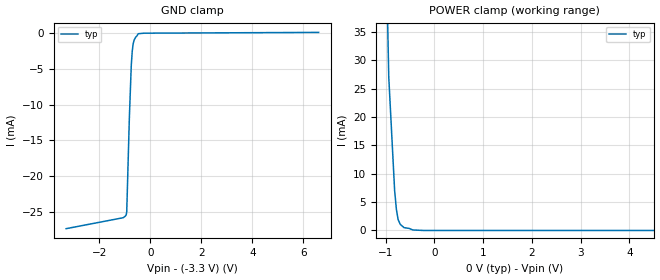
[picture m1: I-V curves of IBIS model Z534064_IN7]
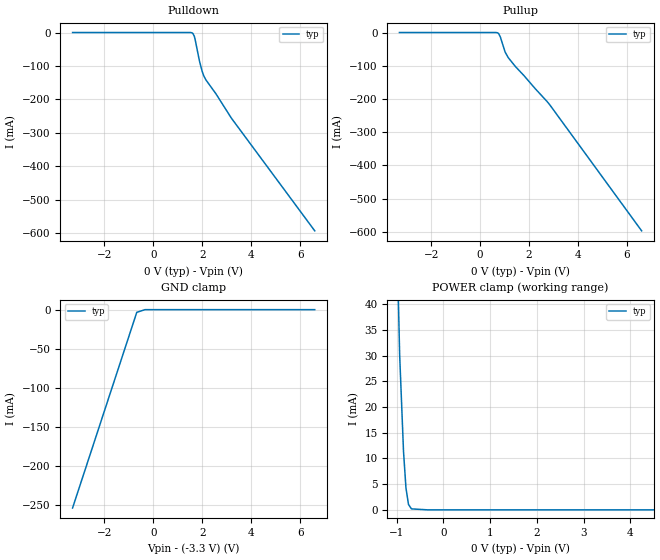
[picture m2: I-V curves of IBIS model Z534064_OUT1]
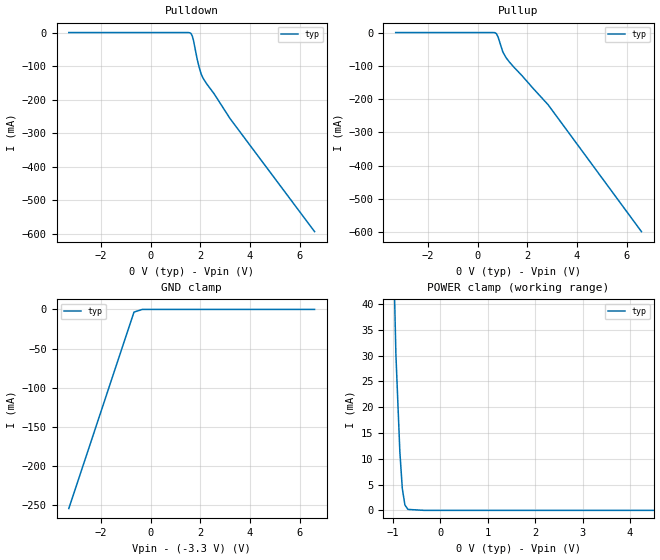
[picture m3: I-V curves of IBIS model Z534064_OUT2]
[IBIS Ver] 3.1
[File Name] mc100lvel11d_-33.ibs
[File Rev] 5
[Source] Measured and created by ICX Technology
[Date] 5/4/2004
[Copyright]
| (C) COPYRIGHT 1993-2000
| MENTOR GRAPHICS CORPORATION
| ICX STANDARD LIBRARY, ICX PROJECT MODELING,
| ICX CUSTOM MODELING, ICX VENDOR MODEL
| ALL RIGHTS RESERVED.
| THE FOLLOWING ARE TRADEMARKS OR SERVICE MARKS OF
| MENTOR GRAPHICS CORPORATION:ICX (R), ICX STANDARD
| LIBRARY(R), ICX PROJECT MODELING(R), ICX CUSTOM
| MODELING(R), qualityIBIS(TM), MODELVIEWER(TM),
| AND MODELEDITOR(TM)
| ALL COPIES OF SOFTWARE, INCLUDING BUT NOT LIMITED TO
| ANY MODIFICATIONS, ENHANCEMENTS OR DERIVATIVE WORKS,
| MUST CONTAIN ALL MENTOR GRAPHICS CORPORATION'S
| NOTICES AND LEGENDS, INCLUDING THOSE EMBEDDED IN
| SOFTWARE AND THOSE AFFIXED TO SOFTWARE MEDIUM
| AND CONTAINER, AS RECEIVED FROM MENTOR GRAPHICS
| CORPORATION.
|  ZAP Model Builder 2.7
[Component] MC100LVEL11D_-33
[Manufacturer] OnSemiconductor
[Package]
| variable   typ   min   max
R_pkg  .152ohms NA NA
L_pkg  2.714nH NA NA
C_pkg  .364pF NA NA
[Pin] signal_name  model_name  R_pin  L_pin C_pin
1 Q0 Z534064_OUT1 .154 2.924n .374p
2 _Q0 Z534064_OUT2 .15 2.504n .354p
3 Q1 Z534064_OUT1 .15 2.504n .354p
4 _Q1 Z534064_OUT2 .154 2.924n .374p
5 VEE POWER .154 2.924n .374p
6 _D Z534064_IN7 .15 2.504n .354p
7 D Z534064_IN7 .15 2.504n .354p
8 VCC POWER .154 2.924n .374p
| Models and submodels in the file (3): Z534064_IN7 (Input_ECL), Z534064_OUT1 (Output_ECL), Z534064_OUT2 (Output_ECL)
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| (C) COPYRIGHT 1993-2000
| MENTOR GRAPHICS CORPORATION
| ICX STANDARD LIBRARY, ICX PROJECT MODELING,
| ICX CUSTOM MODELING, ICX VENDOR MODEL
| ALL RIGHTS RESERVED.
| THE FOLLOWING ARE TRADEMARKS OR SERVICE MARKS OF
| MENTOR GRAPHICS CORPORATION:ICX (R), ICX STANDARD
| LIBRARY(R), ICX PROJECT MODELING(R), ICX CUSTOM
| MODELING(R), qualityIBIS(TM), MODELVIEWER(TM),
| AND MODELEDITOR(TM)
| ALL COPIES OF SOFTWARE, INCLUDING BUT NOT LIMITED TO
| ANY MODIFICATIONS, ENHANCEMENTS OR DERIVATIVE WORKS,
| MUST CONTAIN ALL MENTOR GRAPHICS CORPORATION'S
| NOTICES AND LEGENDS, INCLUDING THOSE EMBEDDED IN
| SOFTWARE AND THOSE AFFIXED TO SOFTWARE MEDIUM
| AND CONTAINER, AS RECEIVED FROM MENTOR GRAPHICS
| CORPORATION.
| Model Application Version 1.89 2/18/99.
[Model] Z534064_IN7
Model_type Input_ECL
Vinl = -1.900V
Vinh = -1.600V
C_comp 1.000pF NA NA
| variable typ   min   max
[Voltage Range] -3.300V NA NA
[GND Clamp Reference] -3.300V NA NA
[POWER Clamp Reference] 0.000V NA NA
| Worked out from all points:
|   GND clamp passes 1 mA (typ) near -0.64 V on its own axis
|   POWER clamp passes 1 mA (typ) near -0.69 V on its own axis
[GND Clamp]
-3.3V     -27.39mA   NA         NA
-1.067V   -25.86mA   NA         NA
-945mV    -25.46mA   NA         NA
-924mV    -24.99mA   NA         NA
-822mV    -11.92mA   NA         NA
-747mV    -4.563mA   NA         NA
-710mV    -2.584mA   NA         NA
-672mV    -1.485mA   NA         NA
-633mV    -956.1uA   NA         NA
-472mV    -85.87uA   NA         NA
6.6V      101.1uA    NA         NA
[POWER Clamp]
-3.3V     1.032A     NA         NA
-938.9mV  27.09mA    NA         NA
-818.4mV  7.056mA    NA         NA
-781.5mV  3.681mA    NA         NA
-746mV    1.9mA      NA         NA
-702.9mV  1.091mA    NA         NA
-624.7mV  496.8uA    NA         NA
-522.1mV  369.4uA    NA         NA
-444.2mV  91.71uA    NA         NA
-222.1mV  0A         NA         NA
6.6V      0A         NA         NA
| (C) COPYRIGHT 1993-2000
| MENTOR GRAPHICS CORPORATION
| ICX STANDARD LIBRARY, ICX PROJECT MODELING,
| ICX CUSTOM MODELING, ICX VENDOR MODEL
| ALL RIGHTS RESERVED.
| THE FOLLOWING ARE TRADEMARKS OR SERVICE MARKS OF
| MENTOR GRAPHICS CORPORATION:ICX (R), ICX STANDARD
| LIBRARY(R), ICX PROJECT MODELING(R), ICX CUSTOM
| MODELING(R), qualityIBIS(TM), MODELVIEWER(TM),
| AND MODELEDITOR(TM)
| ALL COPIES OF SOFTWARE, INCLUDING BUT NOT LIMITED TO
| ANY MODIFICATIONS, ENHANCEMENTS OR DERIVATIVE WORKS,
| MUST CONTAIN ALL MENTOR GRAPHICS CORPORATION'S
| NOTICES AND LEGENDS, INCLUDING THOSE EMBEDDED IN
| SOFTWARE AND THOSE AFFIXED TO SOFTWARE MEDIUM
| AND CONTAINER, AS RECEIVED FROM MENTOR GRAPHICS
| CORPORATION.
| Model Application Version 1.89 2/18/99.
[Model] Z534064_OUT1
Model_type Output_ECL
Vref=-2.000V
Rref=50.00ohms
Cref=0.000F
Vmeas=-1.350V
C_comp 1.000pF NA NA
| variable typ   min   max
[Voltage Range] -3.300V NA NA
[POWER Clamp Reference] 0.000V NA NA
[Pullup Reference] 0.000V NA NA
[Pulldown Reference] 0.000V NA NA
[GND Clamp Reference] -3.300V NA NA
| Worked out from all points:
|   POWER clamp passes 1 mA (typ) near -0.74 V on its own axis
[GND Clamp]
-3.3V     -254.5mA   NA         NA
-675mV    -3.403mA   NA         NA
-337.5mV  0A         NA         NA
6.6V      0A         NA         NA
[Pulldown]
-3.3V     10.81uA    NA         NA
1.502V    -21.29uA   NA         NA
1.622V    -3.251mA   NA         NA
1.674V    -10.81mA   NA         NA
1.704V    -18.7mA    NA         NA
1.89V     -86.21mA   NA         NA
1.999V    -116.5mA   NA         NA
2.065V    -129.9mA   NA         NA
2.154V    -142mA     NA         NA
2.553V    -182.4mA   NA         NA
3.193V    -256.1mA   NA         NA
6.6V      -592.9mA   NA         NA
[Pullup]
-3.3V     29.41uA    NA         NA
620.2mV   -20.42uA   NA         NA
758.7mV   -3.52mA    NA         NA
825.6mV   -13.65mA   NA         NA
1.018V    -58.49mA   NA         NA
1.142V    -75.17mA   NA         NA
1.45V     -103.2mA   NA         NA
2.838V    -217mA     NA         NA
6.6V      -597.2mA   NA         NA
[POWER Clamp]
-3.3V     956.6mA    NA         NA
-936.5mV  30.24mA    NA         NA
-853.4mV  11.33mA    NA         NA
-800.9mV  4.205mA    NA         NA
-746.7mV  1.044mA    NA         NA
-683.6mV  187.4uA    NA         NA
-341.8mV  0A         NA         NA
6.6V      0A         NA         NA
[Ramp]
| variable typ min max
dV/dt_r 499.5m/289.1p NA NA
dV/dt_f 499.5m/327.9p NA NA
R_load = 50.0Ohms
| (C) COPYRIGHT 1993-2000
| MENTOR GRAPHICS CORPORATION
| ICX STANDARD LIBRARY, ICX PROJECT MODELING,
| ICX CUSTOM MODELING, ICX VENDOR MODEL
| ALL RIGHTS RESERVED.
| THE FOLLOWING ARE TRADEMARKS OR SERVICE MARKS OF
| MENTOR GRAPHICS CORPORATION:ICX (R), ICX STANDARD
| LIBRARY(R), ICX PROJECT MODELING(R), ICX CUSTOM
| MODELING(R), qualityIBIS(TM), MODELVIEWER(TM),
| AND MODELEDITOR(TM)
| ALL COPIES OF SOFTWARE, INCLUDING BUT NOT LIMITED TO
| ANY MODIFICATIONS, ENHANCEMENTS OR DERIVATIVE WORKS,
| MUST CONTAIN ALL MENTOR GRAPHICS CORPORATION'S
| NOTICES AND LEGENDS, INCLUDING THOSE EMBEDDED IN
| SOFTWARE AND THOSE AFFIXED TO SOFTWARE MEDIUM
| AND CONTAINER, AS RECEIVED FROM MENTOR GRAPHICS
| CORPORATION.
| Model Application Version 1.89 2/18/99.
[Model] Z534064_OUT2
Model_type Output_ECL
Vref=-2.000V
Rref=50.00ohms
Cref=0.000F
Vmeas=-1.350V
C_comp 1.000pF NA NA
| variable typ   min   max
[Voltage Range] -3.300V NA NA
[POWER Clamp Reference] 0.000V NA NA
[Pullup Reference] 0.000V NA NA
[Pulldown Reference] 0.000V NA NA
[GND Clamp Reference] -3.300V NA NA
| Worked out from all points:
|   POWER clamp passes 1 mA (typ) near -0.74 V on its own axis
[GND Clamp]
-3.3V     -254.2mA   NA         NA
-675mV    -3.39mA    NA         NA
-337.5mV  0A         NA         NA
6.6V      0A         NA         NA
[Pulldown]
-3.3V     2.126uA    NA         NA
1.503V    -17.47uA   NA         NA
1.622V    -3.02mA    NA         NA
1.674V    -10.44mA   NA         NA
1.719V    -22.74mA   NA         NA
1.875V    -80.81mA   NA         NA
1.953V    -104.4mA   NA         NA
2.031V    -123.5mA   NA         NA
2.102V    -135.5mA   NA         NA
2.553V    -182.6mA   NA         NA
3.193V    -256.4mA   NA         NA
6.6V      -593.7mA   NA         NA
[Pullup]
-3.3V     19.52uA    NA         NA
600.7mV   -18.98uA   NA         NA
758.8mV   -3.513mA   NA         NA
825.4mV   -13.61mA   NA         NA
1.017V    -58.47mA   NA         NA
1.142V    -75.15mA   NA         NA
1.451V    -103.2mA   NA         NA
2.839V    -216.9mA   NA         NA
6.6V      -598.4mA   NA         NA
[POWER Clamp]
-3.3V     970.3mA    NA         NA
-936.5mV  30.22mA    NA         NA
-853mV    11.31mA    NA         NA
-801mV    4.21mA     NA         NA
-746.7mV  1.046mA    NA         NA
-683.5mV  184.6uA    NA         NA
-341.7mV  0A         NA         NA
6.6V      0A         NA         NA
[Ramp]
| variable typ min max
dV/dt_r 501.0m/289.1p NA NA
dV/dt_f 501.0m/327.9p NA NA
R_load = 50.0Ohms
